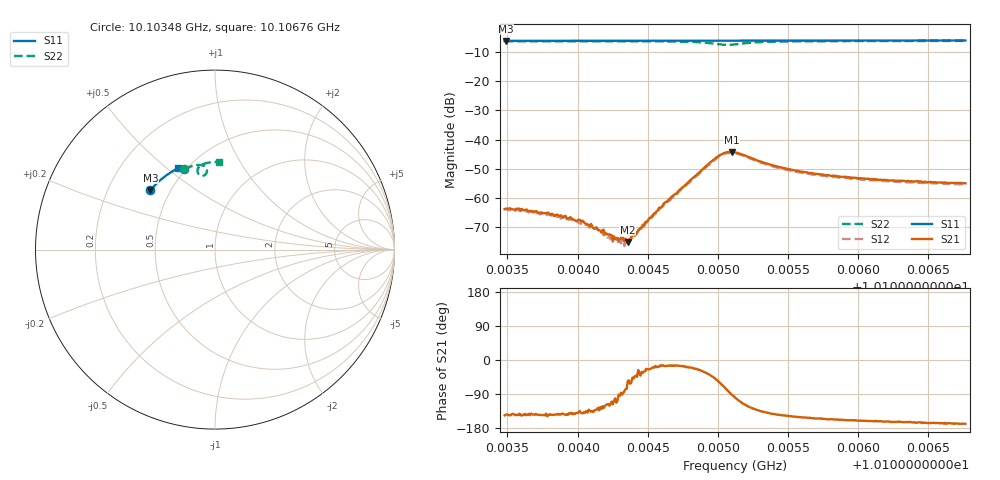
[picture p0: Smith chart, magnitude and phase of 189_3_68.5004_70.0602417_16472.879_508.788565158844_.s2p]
#  HZ  S  RI  R  50.00
! Rohde & Schwarz Vector Network Analyzer
! Rohde-Schwarz,ZNB20-2Port,1311601062101988,3.16
! Created: UTC 3/20/2024, 5:12:10 PM
! freq[Hz]  re:S11  im:S11  re:S21  im:S21  re:S12  im:S12  re:S22  im:S22
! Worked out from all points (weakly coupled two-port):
!   401 points, 10.10348 GHz to 10.10676 GHz, reference 50 ohm
!   highest |S21| = -44.19 dB at 10.1051 GHz (marker M1); lowest = -75.0 dB at 10.10436 GHz (marker M2)
!   lowest |S11| = -6.2 dB at 10.10349 GHz (marker M3), VSWR 2.92, Z = 19.4 + j16.9 ohm
!   |S11| at or under -10 dB: nowhere
!   |S22| runs from -7.6 to -6.2 dB; largest |S21 - S12| = 0.00066
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1.010348e10  -0.36 0.3314  -0.000537 -0.00036  -0.000496 -0.000426  -0.1709 0.4501
1.0103488e10  -0.3595 0.3318  -0.000536 -0.000383  -0.000502 -0.000404  -0.1705 0.4503
1.0103619e10  -0.3546 0.3378  -0.000508 -0.000352  -0.000423 -0.000393  -0.1622 0.4538
1.0103816e10  -0.3465 0.3467  -0.000436 -0.000315  -0.000367 -0.000349  -0.1496 0.4585
1.010403e10  -0.3376 0.3564  -0.000305 -0.00025  -0.000266 -0.000271  -0.135 0.4633
1.0104136e10  -0.333 0.361  -0.000202 -0.000237  -0.000184 -0.000235  -0.1277 0.4657
1.0104218e10  -0.3294 0.3645  -0.000105 -0.000212  -7.91e-05 -0.000198  -0.1214 0.4673
1.0104268e10  -0.3273 0.3666  -3.95e-05 -0.000194  -3.83e-05 -0.000206  -0.1177 0.468
1.0104292e10  -0.3263 0.3676  -4.28e-06 -0.000186  -9.12e-06 -0.000161  -0.116 0.4683
1.010435e10  -0.3237 0.3701  4.48e-05 -0.000181  6.24e-05 -0.000143  -0.1115 0.4694
1.0104358e10  -0.3233 0.3703  0.000102 -0.000145  0.000101 -0.000134  -0.1107 0.4695
1.0104424e10  -0.3206 0.3731  0.000185 -0.000182  0.000206 -0.000147  -0.1052 0.4706
1.010458e10  -0.3135 0.3795  0.000649 -0.000206  0.000614 -0.000115  -0.091 0.4721
1.0104826e10  -0.3022 0.3894  0.00208 -0.00085  0.00206 -0.000614  -0.0609 0.4653
1.0104974e10  -0.2952 0.3948  0.00317 -0.00341  0.00327 -0.00298  -0.0448 0.4358
1.0105039e10  -0.292 0.3973  0.00208 -0.00545  0.00246 -0.00503  -0.0568 0.4157
1.0105097e10  -0.2896 0.3992  -0.00011 -0.00617  0.000491 -0.00592  -0.0788 0.4127
1.0105122e10  -0.2884 0.4003  -0.00094 -0.006  -0.000388 -0.00583  -0.0871 0.4168
1.0105401e10  -0.2751 0.4108  -0.00284 -0.00216  -0.00251 -0.00231  -0.083 0.4668
1.0105672e10  -0.2618 0.4202  -0.0024 -0.00117  -0.00213 -0.00131  -0.0585 0.479
1.0106222e10  -0.2334 0.4381  -0.0019 -0.0006  -0.0018 -0.000744  -0.0173 0.4867
1.0106764e10  -0.2046 0.4536  -0.00176 -0.000353  -0.00162 -0.000516  0.0197 0.4885
